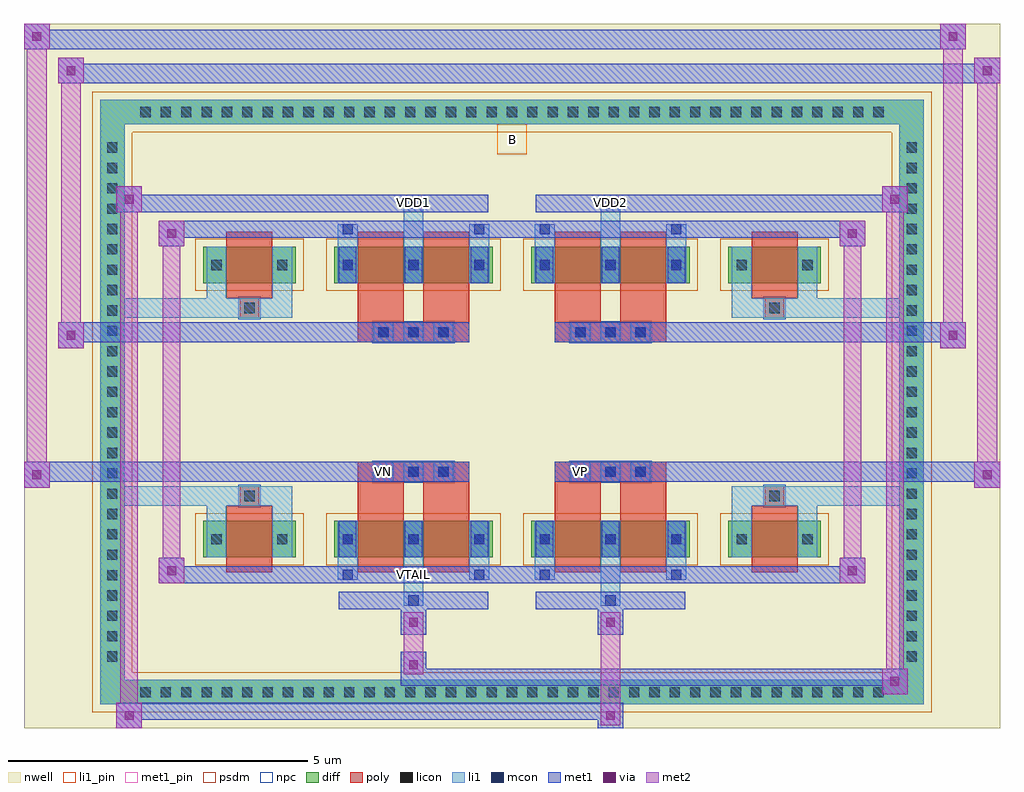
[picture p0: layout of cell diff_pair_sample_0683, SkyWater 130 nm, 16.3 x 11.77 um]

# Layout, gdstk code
import gdstk
lib = gdstk.Library(unit=1e-6, precision=5e-09)
def R(c, l, rs):  # rectangles x0, y0, x1, y1
    for r in rs: c.add(gdstk.rectangle(r[:2], r[2:], *l))
def A(c, l, x, y, w, h, nx, ny, dx, dy):  # array of equal rectangles
    R(c, l, [(x+i*dx, y+j*dy, x+i*dx+w, y+j*dy+h) for i in range(nx) for j in range(ny)])
def P(c, l, *ps):  # polygons
    for p in ps: c.add(gdstk.Polygon(p, *l))
nwell = (64, 20)
diff = (65, 20)
poly = (66, 20)
licon = (66, 44)
li1_pin = (67, 16)
li1 = (67, 20)
mcon = (67, 44)
met1_pin = (68, 16)
met1 = (68, 20)
via = (68, 44)
met2 = (69, 20)
psdm = (94, 20)
npc = (95, 20)

diff_pair_sample_0683 = lib.new_cell('diff_pair_sample_0683')
R(diff_pair_sample_0683, nwell, [(-8.15,-5.45,8.15,6.32), (-5.47,-3.64,-0.01,-0.8), (0.01,-3.64,5.47,-0.8), (-5.47,0.8,-0.01,3.64), (0.01,0.8,5.47,3.64)])
A(diff_pair_sample_0683, diff, -6.325, -5.05, 0.41, 0.41, 37, 2, 0.34, 9.69)
A(diff_pair_sample_0683, diff, -6.88, -4.455, 0.41, 0.41, 1, 26, 0, 0.34)
A(diff_pair_sample_0683, diff, 6.47, -4.455, 0.41, 0.41, 1, 26, 0, 0.34)
R(diff_pair_sample_0683, diff, [(-6.325,-5.05,6.325,-4.64), (-6.88,-4.455,-6.47,4.455), (6.47,-4.455,6.88,4.455), (-5.16,-2.595,-3.61,-1.985), (-2.97,-2.595,-0.32,-1.985), (0.32,-2.595,2.97,-1.985), (3.61,-2.595,5.16,-1.985), (-5.16,1.985,-3.61,2.595), (-2.97,1.985,-0.32,2.595), (0.32,1.985,2.97,2.595), (3.61,1.985,5.16,2.595), (-6.325,4.64,6.325,5.05)])
P(diff_pair_sample_0683, diff, [(6.88,5.05),(-6.88,5.05),(-6.88,-4.64),(-6.47,-4.64),(-6.47,4.64),(6.47,4.64),(6.47,-4.64),(-6.47,-4.64),(-6.88,-4.64),(-6.88,-5.05),(6.88,-5.05)])
A(diff_pair_sample_0683, poly, -2.31, -1.33, 0.33, 0.33, 3, 2, 0.5, 2.33)
A(diff_pair_sample_0683, poly, 0.98, -1.33, 0.33, 0.33, 3, 2, 0.5, 2.33)
R(diff_pair_sample_0683, poly, [(-4.77,-2.845,-4,-1.735), (-2.58,-2.845,-1.81,-1.735), (-1.48,-2.845,-0.71,-1.735), (0.71,-2.845,1.48,-1.735), (1.81,-2.845,2.58,-1.735), (4,-2.845,4.77,-1.735), (-4.55,-1.735,-4.22,-1.405), (-4.55,-1.735,-4.22,-1.405), (-2.58,-1.735,-1.81,-1.33), (-1.48,-1.735,-0.71,-1.33), (0.71,-1.735,1.48,-1.33), (1.81,-1.735,2.58,-1.33), (4.22,-1.735,4.55,-1.405), (4.22,-1.735,4.55,-1.405), (-2.58,-1.33,-0.71,-1), (0.71,-1.33,2.58,-1), (-2.58,1,-0.71,1.33), (0.71,1,2.58,1.33), (-2.58,1.33,-1.81,1.735), (-1.48,1.33,-0.71,1.735), (0.71,1.33,1.48,1.735), (1.81,1.33,2.58,1.735), (-4.55,1.405,-4.22,1.735), (-4.55,1.405,-4.22,1.735), (4.22,1.405,4.55,1.735), (4.22,1.405,4.55,1.735), (-4.77,1.735,-4,2.845), (-2.58,1.735,-1.81,2.845), (-1.48,1.735,-0.71,2.845), (0.71,1.735,1.48,2.845), (1.81,1.735,2.58,2.845), (4,1.735,4.77,2.845)])
A(diff_pair_sample_0683, licon, -6.205, -4.93, 0.17, 0.17, 37, 2, 0.34, 9.69)
A(diff_pair_sample_0683, licon, -6.76, -4.335, 0.17, 0.17, 1, 26, 0, 0.34)
A(diff_pair_sample_0683, licon, 6.59, -4.335, 0.17, 0.17, 1, 26, 0, 0.34)
A(diff_pair_sample_0683, licon, -2.83, -2.375, 0.17, 0.17, 3, 2, 1.1, 4.58)
A(diff_pair_sample_0683, licon, 0.46, -2.375, 0.17, 0.17, 3, 2, 1.1, 4.58)
A(diff_pair_sample_0683, licon, -2.23, -1.25, 0.17, 0.17, 3, 2, 0.5, 2.33)
A(diff_pair_sample_0683, licon, 1.06, -1.25, 0.17, 0.17, 3, 2, 0.5, 2.33)
R(diff_pair_sample_0683, licon, [(-5.02,-2.375,-4.85,-2.205), (-3.92,-2.375,-3.75,-2.205), (3.75,-2.375,3.92,-2.205), (4.85,-2.375,5.02,-2.205), (-4.47,-1.655,-4.3,-1.485), (4.3,-1.655,4.47,-1.485), (-4.47,1.485,-4.3,1.655), (4.3,1.485,4.47,1.655), (-5.02,2.205,-4.85,2.375), (-3.92,2.205,-3.75,2.375), (3.75,2.205,3.92,2.375), (4.85,2.205,5.02,2.375)])
R(diff_pair_sample_0683, li1_pin, [(-0.25,4.14,0.25,4.64)])
A(diff_pair_sample_0683, li1, -6.285, -5.01, 0.33, 0.33, 37, 2, 0.34, 9.69)
A(diff_pair_sample_0683, li1, -6.84, -4.415, 0.33, 0.33, 1, 26, 0, 0.34)
A(diff_pair_sample_0683, li1, 6.51, -4.415, 0.33, 0.33, 1, 26, 0, 0.34)
A(diff_pair_sample_0683, li1, -2.91, -2.595, 0.33, 0.61, 3, 2, 1.1, 4.58)
A(diff_pair_sample_0683, li1, 0.38, -2.595, 0.33, 0.61, 3, 2, 1.1, 4.58)
A(diff_pair_sample_0683, li1, -2.91, -2.455, 0.33, 0.33, 3, 2, 1.1, 4.58)
A(diff_pair_sample_0683, li1, 0.38, -2.455, 0.33, 0.33, 3, 2, 1.1, 4.58)
A(diff_pair_sample_0683, li1, -2.31, -1.33, 0.33, 0.33, 3, 2, 0.5, 2.33)
A(diff_pair_sample_0683, li1, 0.98, -1.33, 0.33, 0.33, 3, 2, 0.5, 2.33)
R(diff_pair_sample_0683, li1, [(-6.88,-5.05,-6.47,-4.64), (-6.88,-5.05,-6.47,-4.64), (-6.47,-5.05,6.47,-4.64), (6.47,-5.05,6.88,-4.64), (6.47,-5.05,6.88,-4.64), (-6.88,-4.64,-6.47,4.64), (6.47,-4.64,6.88,4.64), (-1.81,-3.4,-1.48,-2.595), (-1.73,-3.4,-1.56,-3.23), (1.48,-3.4,1.81,-2.595), (1.56,-3.4,1.73,-3.23), (-2.91,-2.97,-2.58,-2.595), (-2.83,-2.97,-2.66,-2.8), (-0.71,-2.97,-0.38,-2.595), (-0.63,-2.97,-0.46,-2.8), (0.38,-2.97,0.71,-2.595), (0.46,-2.97,0.63,-2.8), (2.58,-2.97,2.91,-2.595), (2.66,-2.97,2.83,-2.8), (-5.1,-2.595,-4.77,-1.985), (-4,-2.595,-3.67,-1.985), (3.67,-2.595,4,-1.985), (4.77,-2.595,5.1,-1.985), (-5.1,-2.455,-4.77,-2.125), (-4,-2.455,-3.67,-2.125), (3.67,-2.455,4,-2.125), (4.77,-2.455,5.1,-2.125), (-2.83,-2.375,-2.66,-2.205), (-2.83,-2.375,-2.66,-2.205), (-1.73,-2.375,-1.56,-2.205), (-1.73,-2.375,-1.56,-2.205), (-0.63,-2.375,-0.46,-2.205), (-0.63,-2.375,-0.46,-2.205), (0.46,-2.375,0.63,-2.205), (0.46,-2.375,0.63,-2.205), (1.56,-2.375,1.73,-2.205), (1.56,-2.375,1.73,-2.205), (2.66,-2.375,2.83,-2.205), (2.66,-2.375,2.83,-2.205), (-5.1,-1.985,-4.77,-1.405), (-4,-1.985,-3.67,-1.405), (3.67,-1.985,4,-1.405), (4.77,-1.985,5.1,-1.405), (-6.88,-1.735,-4.55,-1.405), (-5.1,-1.735,-4.55,-1.405), (-4.55,-1.735,-4.22,-1.405), (-4.22,-1.735,-3.67,-1.405), (3.67,-1.735,4.22,-1.405), (4.22,-1.735,4.55,-1.405), (4.22,-1.735,6.88,-1.405), (4.55,-1.735,5.1,-1.405), (-6.88,1.405,-4.55,1.735), (-5.1,1.405,-4.55,1.735), (-5.1,1.405,-4.77,1.985), (-4.55,1.405,-4.22,1.735), (-4.22,1.405,-3.67,1.735), (-4,1.405,-3.67,1.985), (3.67,1.405,4.22,1.735), (3.67,1.405,4,1.985), (4.22,1.405,4.55,1.735), (4.22,1.405,6.88,1.735), (4.55,1.405,5.1,1.735), (4.77,1.405,5.1,1.985), (-5.1,1.985,-4.77,2.595), (-4,1.985,-3.67,2.595), (3.67,1.985,4,2.595), (4.77,1.985,5.1,2.595), (-5.1,2.125,-4.77,2.455), (-4,2.125,-3.67,2.455), (3.67,2.125,4,2.455), (4.77,2.125,5.1,2.455), (-2.83,2.205,-2.66,2.375), (-2.83,2.205,-2.66,2.375), (-1.73,2.205,-1.56,2.375), (-1.73,2.205,-1.56,2.375), (-0.63,2.205,-0.46,2.375), (-0.63,2.205,-0.46,2.375), (0.46,2.205,0.63,2.375), (0.46,2.205,0.63,2.375), (1.56,2.205,1.73,2.375), (1.56,2.205,1.73,2.375), (2.66,2.205,2.83,2.375), (2.66,2.205,2.83,2.375), (-2.91,2.595,-2.58,2.97), (-1.81,2.595,-1.48,3.4), (-0.71,2.595,-0.38,2.97), (0.38,2.595,0.71,2.97), (1.48,2.595,1.81,3.4), (2.58,2.595,2.91,2.97), (-2.83,2.8,-2.66,2.97), (-0.63,2.8,-0.46,2.97), (0.46,2.8,0.63,2.97), (2.66,2.8,2.83,2.97), (-1.73,3.23,-1.56,3.4), (1.56,3.23,1.73,3.4), (-6.88,4.64,-6.47,5.05), (-6.88,4.64,-6.47,5.05), (-6.47,4.64,6.47,5.05), (6.47,4.64,6.88,5.05), (6.47,4.64,6.88,5.05)])
A(diff_pair_sample_0683, mcon, -2.83, -2.375, 0.17, 0.17, 3, 2, 1.1, 4.58)
A(diff_pair_sample_0683, mcon, 0.46, -2.375, 0.17, 0.17, 3, 2, 1.1, 4.58)
A(diff_pair_sample_0683, mcon, -2.23, -1.25, 0.17, 0.17, 3, 2, 0.5, 2.33)
A(diff_pair_sample_0683, mcon, 1.06, -1.25, 0.17, 0.17, 3, 2, 0.5, 2.33)
R(diff_pair_sample_0683, mcon, [(-1.73,-3.4,-1.56,-3.23), (1.56,-3.4,1.73,-3.23), (-2.83,-2.97,-2.66,-2.8), (-0.63,-2.97,-0.46,-2.8), (0.46,-2.97,0.63,-2.8), (2.66,-2.97,2.83,-2.8), (-2.83,2.8,-2.66,2.97), (-0.63,2.8,-0.46,2.97), (0.46,2.8,0.63,2.97), (2.66,2.8,2.83,2.97), (-1.73,3.23,-1.56,3.4), (1.56,3.23,1.73,3.4)])
R(diff_pair_sample_0683, met1_pin, [(-1.78,-3.01,-1.51,-2.74), (-2.28,-1.29,-2.01,-1.02), (1.01,-1.29,1.28,-1.02), (-1.78,3.19,-1.51,3.46), (1.51,3.19,1.78,3.46)])
A(diff_pair_sample_0683, met1, -2.89, -2.595, 0.29, 0.61, 3, 2, 1.1, 4.58)
A(diff_pair_sample_0683, met1, 0.4, -2.595, 0.29, 0.61, 3, 2, 1.1, 4.58)
A(diff_pair_sample_0683, met1, -2.89, -2.435, 0.29, 0.29, 3, 2, 1.1, 4.58)
A(diff_pair_sample_0683, met1, 0.4, -2.435, 0.29, 0.29, 3, 2, 1.1, 4.58)
A(diff_pair_sample_0683, met1, -2.29, -1.31, 0.29, 0.29, 3, 2, 0.5, 2.33)
A(diff_pair_sample_0683, met1, 1, -1.31, 0.29, 0.29, 3, 2, 0.5, 2.33)
R(diff_pair_sample_0683, met1, [(-6.61,-5.45,-6.18,-5.02), (1.43,-5.45,1.86,-5.02), (-6.61,-5.31,1.86,-5.02), (6.18,-4.88,6.61,-4.45), (-1.86,-4.74,6.61,-4.45), (-1.86,-4.6,-1.43,-4.17), (-1.86,-3.89,-1.43,-3.46), (1.43,-3.89,1.86,-3.46), (-2.89,-3.46,-0.4,-3.17), (-1.79,-3.46,-1.5,-3.17), (0.4,-3.46,2.89,-3.17), (1.5,-3.46,1.79,-3.17), (-5.9,-3.03,-5.47,-2.6), (-5.9,-3.03,-2.89,-2.74), (-2.89,-3.03,-2.6,-2.74), (-2.89,-3.03,-0.4,-2.74), (-0.69,-3.03,-0.4,-2.74), (-0.4,-3.03,0.4,-2.74), (0.4,-3.03,0.69,-2.74), (0.4,-3.03,2.89,-2.74), (2.6,-3.03,2.89,-2.74), (2.89,-3.03,5.9,-2.74), (5.47,-3.03,5.9,-2.6), (-8.15,-1.43,-7.72,-1), (7.72,-1.43,8.15,-1), (-8.15,-1.33,-0.71,-1), (-2.58,-1.33,-0.71,-1), (0.71,-1.33,2.58,-1), (0.71,-1.33,8.15,-1), (-7.58,0.9,-7.15,1.33), (7.15,0.9,7.58,1.33), (-7.58,1,-2.58,1.33), (-2.58,1,-0.71,1.33), (0.71,1,2.58,1.33), (2.58,1,7.58,1.33), (-5.9,2.6,-5.47,3.03), (5.47,2.6,5.9,3.03), (-5.9,2.74,-2.89,3.03), (-2.89,2.74,-2.6,3.03), (-2.89,2.74,-0.4,3.03), (-0.69,2.74,-0.4,3.03), (-0.4,2.74,0.4,3.03), (0.4,2.74,0.69,3.03), (0.4,2.74,2.89,3.03), (2.6,2.74,2.89,3.03), (2.89,2.74,5.9,3.03), (-6.61,3.17,-6.18,3.6), (-6.61,3.17,-2.89,3.46), (-2.89,3.17,-0.4,3.46), (-1.79,3.17,-1.5,3.46), (0.4,3.17,2.89,3.46), (1.5,3.17,1.79,3.46), (2.89,3.17,6.61,3.46), (6.18,3.17,6.61,3.6), (-7.58,5.32,-7.15,5.75), (-7.58,5.32,-5.47,5.65), (-5.47,5.32,5.47,5.65), (5.47,5.32,8.15,5.65), (7.72,5.32,8.15,5.75), (-8.15,5.89,-7.72,6.32), (-8.15,5.89,-5.47,6.22), (-5.47,5.89,5.47,6.22), (5.47,5.89,7.58,6.22), (7.15,5.89,7.58,6.32)])
R(diff_pair_sample_0683, via, [(-6.47,-5.31,-6.32,-5.16), (1.57,-5.31,1.72,-5.16), (6.32,-4.74,6.47,-4.59), (-1.72,-4.46,-1.57,-4.31), (-1.72,-3.75,-1.57,-3.6), (1.57,-3.75,1.72,-3.6), (-5.76,-2.89,-5.61,-2.74), (5.61,-2.89,5.76,-2.74), (-8.01,-1.29,-7.86,-1.14), (7.86,-1.29,8.01,-1.14), (-7.44,1.04,-7.29,1.19), (7.29,1.04,7.44,1.19), (-5.76,2.74,-5.61,2.89), (5.61,2.74,5.76,2.89), (-6.47,3.31,-6.32,3.46), (6.32,3.31,6.47,3.46), (-7.44,5.46,-7.29,5.61), (7.86,5.46,8.01,5.61), (-8.01,6.03,-7.86,6.18), (7.29,6.03,7.44,6.18)])
R(diff_pair_sample_0683, met2, [(-6.61,-5.45,-6.18,-5.02), (-6.54,-5.45,-6.25,3.6), (-6.25,-5.45,-6.18,-5.02), (-6.56,-5.4,-6.23,-5.07), (1.48,-5.4,1.81,-5.07), (1.48,-5.07,1.81,-3.84), (6.18,-4.88,6.61,-4.45), (6.25,-4.88,6.54,3.6), (6.54,-4.88,6.61,-4.45), (6.23,-4.83,6.56,-4.5), (-1.81,-4.55,-1.48,-4.22), (-1.81,-4.22,-1.48,-3.84), (-1.81,-3.84,-1.48,-3.51), (1.48,-3.84,1.81,-3.51), (-5.9,-3.03,-5.47,-2.6), (-5.83,-3.03,-5.54,3.03), (-5.54,-3.03,-5.47,-2.6), (5.47,-3.03,5.9,-2.6), (5.54,-3.03,5.83,3.03), (5.83,-3.03,5.9,-2.6), (-5.85,-2.98,-5.52,-2.65), (5.52,-2.98,5.85,-2.65), (-8.15,-1.43,-7.72,-1), (-8.1,-1.43,-7.77,6.32), (-7.77,-1.43,-7.72,-1), (7.72,-1.43,8.15,-1), (7.77,-1.43,8.1,5.75), (8.1,-1.43,8.15,-1), (-8.1,-1.38,-7.77,-1.05), (7.77,-1.38,8.1,-1.05), (-7.58,0.9,-7.15,1.33), (-7.53,0.9,-7.2,5.75), (-7.2,0.9,-7.15,1.33), (7.15,0.9,7.58,1.33), (7.2,0.9,7.53,6.32), (7.53,0.9,7.58,1.33), (-7.53,0.95,-7.2,1.28), (7.2,0.95,7.53,1.28), (-5.9,2.6,-5.47,3.03), (-5.54,2.6,-5.47,3.03), (5.47,2.6,5.9,3.03), (5.83,2.6,5.9,3.03), (-5.85,2.65,-5.52,2.98), (5.52,2.65,5.85,2.98), (-6.61,3.17,-6.18,3.6), (-6.25,3.17,-6.18,3.6), (6.18,3.17,6.61,3.6), (6.54,3.17,6.61,3.6), (-6.56,3.22,-6.23,3.55), (6.23,3.22,6.56,3.55), (-7.58,5.32,-7.15,5.75), (-7.2,5.32,-7.15,5.75), (7.72,5.32,8.15,5.75), (8.1,5.32,8.15,5.75), (-7.53,5.37,-7.2,5.7), (7.77,5.37,8.1,5.7), (-8.15,5.89,-7.72,6.32), (-7.77,5.89,-7.72,6.32), (7.15,5.89,7.58,6.32), (7.53,5.89,7.58,6.32), (-8.1,5.94,-7.77,6.27), (7.2,5.94,7.53,6.27)])
R(diff_pair_sample_0683, psdm, [(-5.29,-2.725,-3.48,-1.855), (-3.1,-2.725,-0.19,-1.855), (0.19,-2.725,3.1,-1.855), (3.48,-2.725,5.29,-1.855), (-5.29,1.855,-3.48,2.725), (-3.1,1.855,-0.19,2.725), (0.19,1.855,3.1,2.725), (3.48,1.855,5.29,2.725)])
P(diff_pair_sample_0683, psdm, [(7.01,5.18),(-7.01,5.18),(-7.01,-4.51),(-6.34,-4.51),(-6.34,4.51),(6.34,4.51),(6.34,-4.51),(-6.34,-4.51),(-7.01,-4.51),(-7.01,-5.18),(7.01,-5.18)])
A(diff_pair_sample_0683, npc, -2.33, -1.35, 0.37, 0.37, 3, 2, 0.5, 2.33)
A(diff_pair_sample_0683, npc, 0.96, -1.35, 0.37, 0.37, 3, 2, 0.5, 2.33)
R(diff_pair_sample_0683, npc, [(-4.57,-1.755,-4.2,-1.385), (4.2,-1.755,4.57,-1.385), (-2.33,-1.35,-1.46,-0.98), (-2.33,-1.35,-1.46,-0.98), (-1.83,-1.35,-0.96,-0.98), (-1.83,-1.35,-0.96,-0.98), (0.96,-1.35,1.83,-0.98), (0.96,-1.35,1.83,-0.98), (1.46,-1.35,2.33,-0.98), (1.46,-1.35,2.33,-0.98), (-2.33,0.98,-1.46,1.35), (-2.33,0.98,-1.46,1.35), (-1.83,0.98,-0.96,1.35), (-1.83,0.98,-0.96,1.35), (0.96,0.98,1.83,1.35), (0.96,0.98,1.83,1.35), (1.46,0.98,2.33,1.35), (1.46,0.98,2.33,1.35), (-4.57,1.385,-4.2,1.755), (4.2,1.385,4.57,1.755)])
diff_pair_sample_0683.add(gdstk.Label('VTAIL', (-1.645,-2.875), layer=68, texttype=5))
diff_pair_sample_0683.add(gdstk.Label('VN', (-2.145,-1.155), layer=68, texttype=5))
diff_pair_sample_0683.add(gdstk.Label('VP', (1.145,-1.155), layer=68, texttype=5))
diff_pair_sample_0683.add(gdstk.Label('B', (0,4.39), layer=67, texttype=5))
diff_pair_sample_0683.add(gdstk.Label('VDD2', (1.645,3.325), layer=68, texttype=5))
diff_pair_sample_0683.add(gdstk.Label('VDD1', (-1.645,3.325), layer=68, texttype=5))

lib.write_gds('diff_pair_sample_0683.gds')
